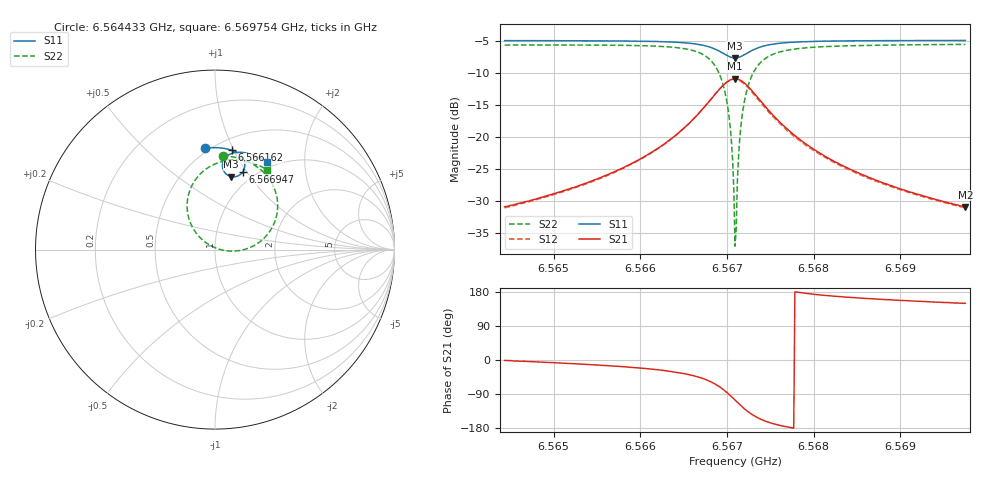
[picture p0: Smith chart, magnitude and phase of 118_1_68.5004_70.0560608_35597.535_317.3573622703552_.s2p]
#  HZ  S  RI  R  50.00
! Rohde & Schwarz Vector Network Analyzer
! Rohde-Schwarz,ZNB20-2Port,1311601062101988,3.16
! Created: UTC 3/20/2024, 5:08:59 PM
! freq[Hz]  re:S11  im:S11  re:S21  im:S21  re:S12  im:S12  re:S22  im:S22
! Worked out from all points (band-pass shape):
!   401 points, 6.564433 GHz to 6.569754 GHz, reference 50 ohm
!   highest |S21| = -10.86 dB at 6.567094 GHz (marker M1); lowest = -30.9 dB at 6.569754 GHz (marker M2)
!   |S21| within 3 dB of the highest: 6.566828 GHz to 6.567361 GHz (532.5 kHz wide, 0.00811 % of centre)
!   lowest |S11| = -7.6 dB at 6.567094 GHz (marker M3), VSWR 2.43, Z = 41.6 + j41 ohm
!   |S11| at or under -10 dB: nowhere
!   |S22| runs from -37.0 to -5.5 dB; largest |S21 - S12| = 0.014
!   S11 on the Smith chart (normalised r, x): 6.564433 GHz: 0.47, +0.79; 6.566162 GHz: 0.61, +0.98; 6.566947 GHz: 0.88, +0.95; 6.569754 GHz: 0.91, +1.32
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6.5644331e9  -0.057 0.5662  0.0287 -0.00057  0.0281 -0.00112  0.0429 0.5237
6.5653243e9  0.0163 0.5676  0.0419 -0.00816  0.0413 -0.00871  0.1282 0.5096
6.5661624e9  0.0952 0.5528  0.0715 -0.033  0.0704 -0.0339  0.2395 0.457
6.5662156e9  0.1009 0.5506  0.0747 -0.0367  0.0736 -0.0375  0.2489 0.4498
6.5665215e9  0.1367 0.5294  0.097 -0.0721  0.0955 -0.0735  0.3108 0.3802
6.5667343e9  0.1612 0.496  0.11 -0.1301  0.1076 -0.1327  0.3482 0.2684
6.5668541e9  0.1658 0.4629  0.0995 -0.188  0.0946 -0.1916  0.3341 0.1576
6.5669472e9  0.1535 0.4306  0.0608 -0.2433  0.0523 -0.2461  0.264 0.0547
6.5669871e9  0.1412 0.4179  0.0313 -0.2639  0.021 -0.2655  0.2095 0.0179
6.567027e9  0.1242 0.4088  -0.00618 -0.2776  -0.018 -0.2769  0.1409 -0.00457
6.5670536e9  0.1112 0.4057  -0.0344 -0.281  -0.0465 -0.2782  0.09 -0.00862
6.5670802e9  0.0973 0.4056  -0.0635 -0.2789  -0.0757 -0.274  0.0384 -0.0019
6.5670935e9  0.0904 0.4067  -0.0778 -0.2756  -0.0897 -0.2697  0.013 0.00548
6.5671201e9  0.0771 0.4111  -0.1052 -0.2649  -0.1164 -0.257  -0.0339 0.0279
6.5671467e9  0.0655 0.4184  -0.1296 -0.2493  -0.1391 -0.2397  -0.0745 0.0583
6.5671866e9  0.052 0.4328  -0.1582 -0.2197  -0.1649 -0.2084  -0.1198 0.1143
6.5672398e9  0.0427 0.4551  -0.18 -0.1755  -0.183 -0.1642  -0.1505 0.194
6.5673063e9  0.0427 0.4811  -0.1861 -0.1251  -0.1858 -0.115  -0.1525 0.2828
6.5675458e9  0.0801 0.5301  -0.1429 -0.0282  -0.1399 -0.0238  -0.0544 0.4457
6.5679848e9  0.1432 0.5421  -0.0816 0.00886  -0.0797 0.0101  0.0832 0.4977
6.568876e9  0.2269 0.5219  -0.0396 0.0152  -0.0387 0.0155  0.2138 0.4804
6.569754e9  0.292 0.4904  -0.0246 0.0145  -0.0241 0.0146  0.2915 0.4448
